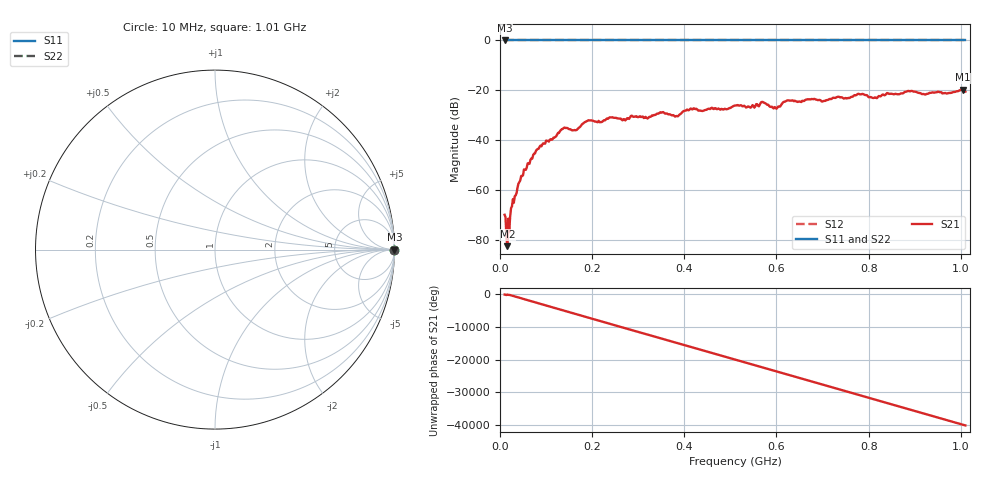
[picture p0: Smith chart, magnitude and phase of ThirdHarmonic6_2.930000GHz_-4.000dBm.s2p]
! 8/17/2025 8:10:44 AM
! C:\ANRITSUVNA\TEMP\TEMP.S2P
! CHANNEL.1
! TR.MEASUREMENT
! RAW.DATA
! RF.CORRECTION.OFF
! AVERAGING.OFF
! IF.BANDWIDTH: 5KHZ
! SWEEPTYPE:  FREQ.SWEEP(Linear)
! Reference Plane Port Info
! PORT:  PORT1  PORT2
! DISTANCE:  0  m  0  m
! TIME:  0  s  0  s
! PHASE.OFFSET:  0  deg.  0  deg.
! LOSS:  0  dB  0  dB
! REF.LOSS:  0  dB  0  dB
! REF.FREQ:  0  Hz  0  Hz
! Power Info
! POWER:  -20  dBm  -20  dBm
! EFF.POWER:  -20  dBm  -20  dBm
! SOURCE.ATTEN:  0  dB  0  dB
! TEST.ATTEN:  0  dB  0  dB
# GHZ S RI R 50.0
! FREQ.GHZ  S11RE  S11IM  S21RE  S21IM  S12RE  S12IM  S22RE  S22IM
!; PortSelection: Port_12
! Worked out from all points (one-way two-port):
!   501 points, 10 MHz to 1.01 GHz, reference 50 ohm
!   highest |S21| = -19.78 dB at 1.004 GHz (marker M1); lowest = -82.6 dB at 16 MHz (marker M2)
!   lowest |S11| = 0.0 dB at 10 MHz (marker M3)
!   |S11| at or under -10 dB: nowhere
!   |S22| runs from 0.0 to 0.0 dB; largest |S21 - S12| = 1.1
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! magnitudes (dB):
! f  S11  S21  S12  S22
! 10 MHz  0.0  -70.0  0.0  0.0
! 16 MHz  0.0  -82.6  0.0  0.0
! 18 MHz  0.0  -71.6  0.0  0.0
! 28 MHz  0.0  -63.7  0.0  0.0
! 42 MHz  0.0  -56.8  0.0  0.0
! 76 MHz  0.0  -45.3  0.0  0.0
! 136 MHz  0.0  -35.6  0.0  0.0
! 162 MHz  0.0  -36.0  0.0  0.0
! 178 MHz  0.0  -33.7  0.0  0.0
! 344 MHz  0.0  -29.4  0.0  0.0
! 382 MHz  0.0  -30.4  0.0  0.0
! 416 MHz  0.0  -27.6  0.0  0.0
! 510 MHz  0.0  -26.1  0.0  0.0
! 570 MHz  0.0  -24.7  0.0  0.0
! 598 MHz  0.0  -27.0  0.0  0.0
! 624 MHz  0.0  -24.0  0.0  0.0
! 678 MHz  0.0  -23.5  0.0  0.0
! 782 MHz  0.0  -21.6  0.0  0.0
! 814 MHz  0.0  -22.9  0.0  0.0
! 844 MHz  0.0  -21.5  0.0  0.0
! 1.004 GHz  0.0  -19.8  0.0  0.0
! 1.01 GHz  0.0  -20.5  0.0  0.0
